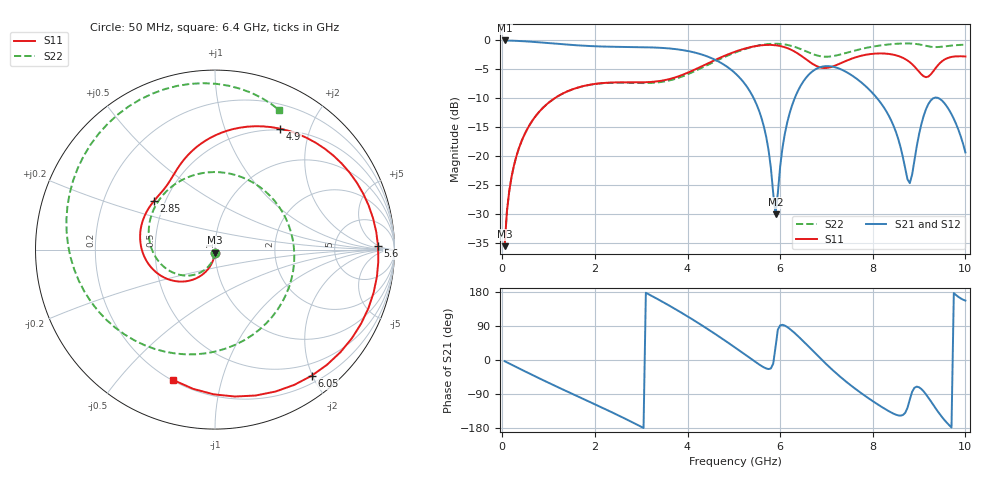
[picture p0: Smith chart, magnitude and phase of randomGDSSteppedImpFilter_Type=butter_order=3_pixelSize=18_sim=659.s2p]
! freq	dB(S11)	phase(S11)	dB(S12)	phase(S12)
!  dB(S21)	phase(S21)	dB(S22)	phase(S22)
!S-par simulation data
#  GHz  S  DB  R 50
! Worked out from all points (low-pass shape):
!   200 points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, 50 MHz to 10 GHz, reference 50 ohm
!   highest |S21| = 0.00 dB at 50 MHz (marker M1); lowest = -30.0 dB at 5.9 GHz (marker M2)
!   |S21| within 3 dB of the highest: start of sweep to 4.504 GHz
!   lowest |S11| = -35.5 dB at 50 MHz (marker M3), VSWR 1.03, Z = 49.9 - j1.68 ohm
!   |S11| at or under -10 dB: start of sweep to 1.125 GHz
!   |S22| runs from -35.5 to -0.5 dB; largest |S21 - S12| = 0
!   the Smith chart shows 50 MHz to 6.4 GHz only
!   S11 on the Smith chart (normalised r, x): 50 MHz: 1.00, -0.03; 2.85 GHz: 0.43, +0.29; 4.9 GHz: 0.48, +1.57; 5.6 GHz: 20, +4; 6.05 GHz: 0.31, -1.99; 6.4 GHz: 0.20, -0.71
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0.05  -35.47 -92.8  -0.00 -3.1  -0.00 -3.1  -35.47 -93.5
0.2  -23.52 -101.1  -0.04 -12.3  -0.04 -12.3  -23.53 -103.9
0.5  -15.88 -117.6  -0.16 -30.6  -0.16 -30.6  -15.89 -124.6
1.75  -7.87 -178.0  -0.91 -102.9  -0.91 -102.9  -7.89 151.2
2.85  -7.23 141.5  -1.14 -166.9  -1.14 -166.9  -7.33 64.0
3.4  -7.00 126.9  -1.27 157.7  -1.27 157.7  -7.20 7.7
4.25  -4.68 99.6  -2.29 96.1  -2.29 96.1  -4.94 -88.9
4.9  -2.32 61.7  -4.80 43.6  -4.80 43.6  -2.50 -157.1
5.05  -1.88 50.5  -5.81 30.9  -5.81 30.9  -2.02 -172.0
5.6  -0.83 1.1  -13.45 -16.0  -13.45 -16.0  -0.77 135.1
5.9  -0.83 -32.9  -29.96 33.9  -29.96 33.9  -0.57 107.3
6.05  -1.06 -52.6  -18.55 92.9  -18.55 92.9  -0.64 93.9
6.4  -2.35 -107.7  -8.44 61.3  -8.44 61.3  -1.35 65.4
6.7  -4.04 -168.3  -5.31 25.0  -5.31 25.0  -2.34 47.3
7.25  -4.13 72.3  -4.79 -39.2  -4.79 -39.2  -2.52 26.8
7.75  -2.64 -3.8  -7.22 -87.4  -7.22 -87.4  -1.47 4.0
8.35  -2.33 -79.2  -13.04 -135.4  -13.04 -135.4  -0.69 -26.0
8.8  -3.75 -154.0  -24.61 -104.2  -24.61 -104.2  -0.52 -48.1
9.1  -6.19 108.5  -12.98 -83.0  -12.98 -83.0  -0.84 -62.0
9.4  -4.34 -22.7  -9.89 -135.1  -9.89 -135.1  -1.14 -71.4
9.65  -2.94 -92.7  -12.01 -172.0  -12.01 -172.0  -0.93 -79.9
10  -2.77 -162.5  -19.31 156.8  -19.31 156.8  -0.74 -94.8
